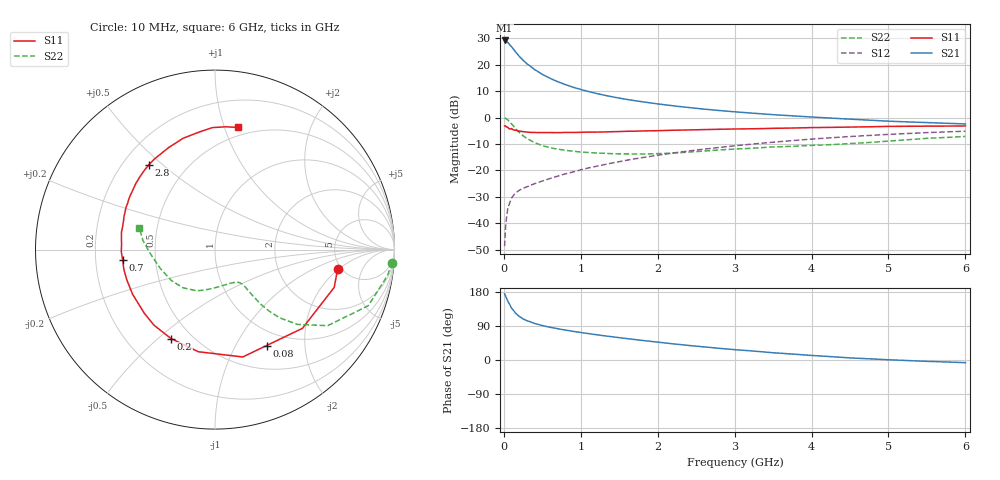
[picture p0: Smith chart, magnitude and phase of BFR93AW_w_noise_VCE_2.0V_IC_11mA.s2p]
! Infineon Technologies  Discrete & RF Semiconductors
! BFR93AW
! VCE =  2.0 V,  IC =  11 mA
! Common Emitter S-Parameters:  Jan 2017
# GHz  S  MA  R  50
!  f  S11  S21  S12  S22
! GHz  MAG  ANG  MAG  ANG  MAG  ANG  MAG  ANG
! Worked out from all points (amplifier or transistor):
!   77 points, 10 MHz to 6 GHz, reference 50 ohm
!   highest |S21| = 29.1 dB at 10 MHz (marker M1)
!   |S21| within 3 dB of that: start of sweep to 117.1 MHz
!   unconditionally stable (mu >= 1): 776.3 MHz to 2.259 GHz
!   at 130 MHz: K = 0.33, MSG = 27.5 dB, |S12| = -29.3 dB
!   at 2.2 GHz: K = 1.01, MAG = 8.5 dB, |S12| = -13.4 dB
!   at 6 GHz: K = 0.91, MSG = 1.4 dB, |S12| = -5.2 dB
!   lowest NFmin = 1.26 dB at 450 MHz
!   S11 on the Smith chart (normalised r, x): 10 MHz: 4.67, -1.92; 80 MHz: 0.80, -1.35; 200 MHz: 0.39, -0.55; 700 MHz: 0.32, -0.05; 2.8 GHz: 0.31, +0.45; 6 GHz: 0.43, +1.11
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0.01  0.6918 -8.9  28.6 174.8  0.0037 84.5  0.9888 -4.2
0.02  0.6968 -17.6  28.57 169.9  0.0076 84.5  0.9723 -8.5
0.05  0.6556 -42.0  26.44 155.5  0.0183 72.8  0.9093 -20.1
0.08  0.6069 -61.7  23.35 145.2  0.0252 64.3  0.8123 -27.8
0.1  0.6179 -75.5  21.81 136.8  0.03 60.9  0.7575 -34.0
0.15  0.5766 -99.3  17.57 124.0  0.0374 53.5  0.6208 -42.2
0.2  0.5529 -116.3  14.39 115.2  0.042 51.0  0.5223 -46.6
0.25  0.5413 -128.9  12.11 108.5  0.046 50.0  0.4522 -48.8
0.3  0.5298 -138.1  10.36 103.7  0.049 50.6  0.3998 -50.0
0.4  0.5221 -151.5  8.049 96.3  0.0561 51.8  0.3341 -50.7
0.5  0.5196 -161.0  6.536 90.9  0.063 54.0  0.2943 -50.9
0.6  0.5197 -168.0  5.514 86.4  0.0703 56.0  0.2688 -51.0
0.7  0.5174 -173.7  4.757 82.6  0.0779 58.2  0.2517 -51.3
0.9  0.5214 176.8  3.737 75.6  0.0934 60.5  0.2308 -53.4
1.1  0.53 169.5  3.101 69.7  0.1114 62.3  0.2182 -56.5
1.5  0.543 157.4  2.326 59.0  0.1462 62.8  0.2053 -66.6
2.1  0.569 142.4  1.735 44.9  0.2034 60.7  0.21 -87.3
2.8  0.5992 127.9  1.356 30.8  0.2715 55.9  0.2438 -110.5
3.1  0.6091 122.0  1.249 25.8  0.3016 53.1  0.2572 -119.2
4.1  0.647 104.4  1.003 10.8  0.4 42.9  0.3005 -148.0
5.1  0.6805 90.0  0.842 -0.2  0.487 31.3  0.3665 -178.2
6  0.6924 79.4  0.756 -7.0  0.5515 20.8  0.4387 163.8
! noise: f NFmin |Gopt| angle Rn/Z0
0.45  1.26  0.12  111  0.13
0.9  1.57  0.23  157  0.14
1.9  2.62  0.47  -146  0.18
2.4  3.24  0.54  -130  0.37
